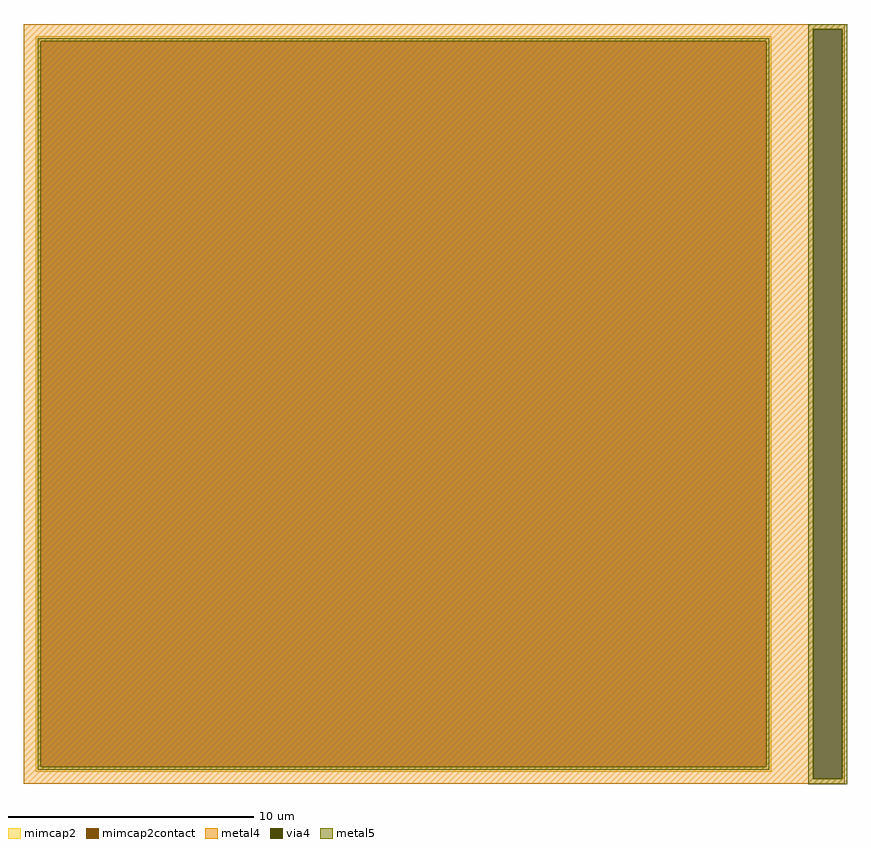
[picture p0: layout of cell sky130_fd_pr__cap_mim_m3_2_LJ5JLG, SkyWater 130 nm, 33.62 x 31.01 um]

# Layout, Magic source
magic
tech sky130A
magscale 1 2
<< metal4 >>
rect -3351 3059 3351 3100
rect -3351 -3059 3095 3059
rect 3331 -3059 3351 3059
rect -3351 -3100 3351 -3059
<< via4 >>
rect 3095 -3059 3331 3059
<< mimcap2 >>
rect -3251 2960 2749 3000
rect -3251 -2960 -3211 2960
rect 2709 -2960 2749 2960
rect -3251 -3000 2749 -2960
<< mimcap2contact >>
rect -3211 -2960 2709 2960
<< metal5 >>
rect 3053 3059 3373 3101
rect -3235 2960 2733 2984
rect -3235 -2960 -3211 2960
rect 2709 -2960 2733 2960
rect -3235 -2984 2733 -2960
rect 3053 -3059 3095 3059
rect 3331 -3059 3373 3059
rect 3053 -3101 3373 -3059
<< properties >>
string FIXED_BBOX -3351 -3100 2849 3100
string gencell sky130_fd_pr__cap_mim_m3_2
string library sky130
string parameters w 30 l 30 val 1.822k carea 2.00 cperi 0.19 nx 1 ny 1 dummy 0 square 0 lmin 2.00 wmin 2.00 lmax 30.0 wmax 30.0 dc 0 bconnect 1 tconnect 1 ccov 100
<< end >>
